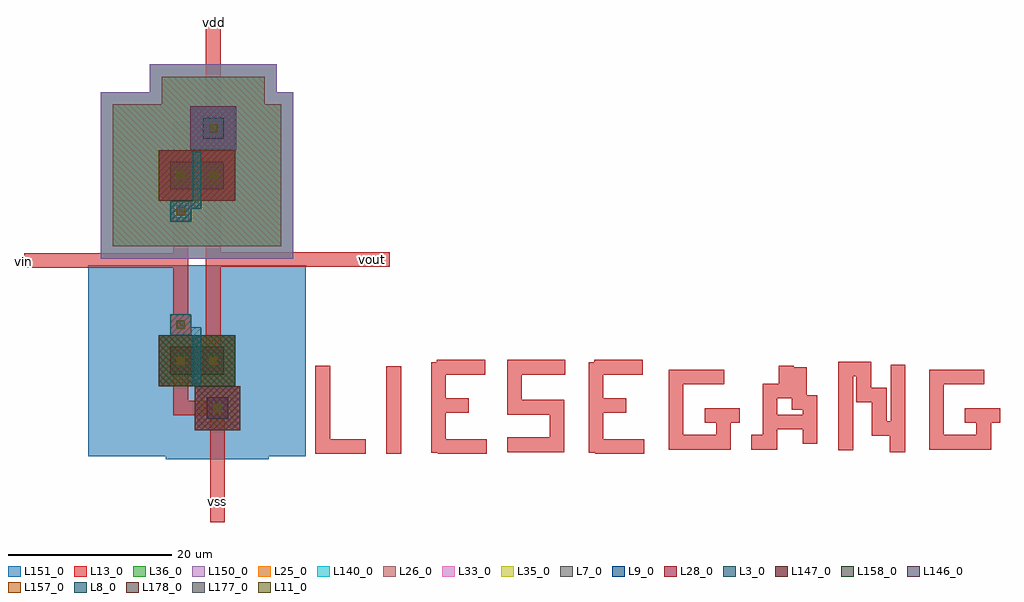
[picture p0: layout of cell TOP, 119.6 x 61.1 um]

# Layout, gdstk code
import gdstk
lib = gdstk.Library(unit=1e-6, precision=1e-07)
def R(c, l, rs):  # rectangles x0, y0, x1, y1
    for r in rs: c.add(gdstk.rectangle(r[:2], r[2:], *l))
L3_0 = (3, 0)
L7_0 = (7, 0)
L8_0 = (8, 0)
L9_0 = (9, 0)
L11_0 = (11, 0)
L13_0 = (13, 0)
L25_0 = (25, 0)
L26_0 = (26, 0)
L28_0 = (28, 0)
L33_0 = (33, 0)
L35_0 = (35, 0)
L36_0 = (36, 0)
L140_0 = (140, 0)
L146_0 = (146, 0)
L147_0 = (147, 0)
L150_0 = (150, 0)
L151_0 = (151, 0)
L157_0 = (157, 0)
L158_0 = (158, 0)
L177_0 = (177, 0)
L178_0 = (178, 0)

dcont = lib.new_cell('dcont')
R(dcont, L3_0, [(-1.3,-1.3,1.3,1.3)])
R(dcont, L11_0, [(-0.5,-0.5,0.5,0.5)])
R(dcont, L13_0, [(-1.3,-1.3,1.3,1.3), (-0.5,-0.5,0.5,0.5)])

pcont = lib.new_cell('pcont')
R(pcont, L8_0, [(-1.3,-1.3,1.3,1.3)])
R(pcont, L11_0, [(-0.5,-0.5,0.5,0.5)])
R(pcont, L13_0, [(-1.3,-1.3,1.3,1.3), (-0.5,-0.5,0.5,0.5)])

c_dcont = lib.new_cell('DCONT')
R(c_dcont, L3_0, [(-1.3,-1.3,1.3,1.3)])
R(c_dcont, L11_0, [(-0.5,-0.5,0.5,0.5)])
R(c_dcont, L13_0, [(-1.3,-1.3,1.3,1.3), (-0.5,-0.5,0.5,0.5)])

psubcont = lib.new_cell('psubcont')
R(psubcont, L7_0, [(-2.8,-2.7,2.8,2.7)])
R(psubcont, L28_0, [(-2.8,-2.7,2.8,2.7)])
R(psubcont, L33_0, [(-2.8,-2.7,2.8,2.7)])
R(psubcont, L35_0, [(-2.8,-2.7,2.8,2.7)])
R(psubcont, L151_0, [(-6.3,-6.3,6.3,6.3)])
R(psubcont, L178_0, [(-2.8,-2.7,2.8,2.7)])
psubcont.add(gdstk.Reference(c_dcont, (0,0)))

mn_1 = lib.new_cell('MN$1')
R(mn_1, L3_0, [(0,3.6,6.6,7)])
R(mn_1, L9_0, [(-1.4,2.2,8,8.4)])
R(mn_1, L33_0, [(-1.4,2.2,8,8.4)])
R(mn_1, L35_0, [(-1.4,2.2,8,8.4)])
R(mn_1, L147_0, [(-1.4,2.2,8,8.4)])
R(mn_1, L151_0, [(-10,-6.4,16.6,17)])
R(mn_1, L158_0, [(-1.4,2.2,8,8.4)])
mn_1.add(gdstk.FlexPath([(1.3,3.6),(1.3,7)], 2.6, ends="flush", simple_path=True, layer=13, datatype=0))  # L13_0
mn_1.add(gdstk.FlexPath([(5.3,3.6),(5.3,7)], 2.6, ends="flush", simple_path=True, layer=13, datatype=0))  # L13_0
mn_1.add(gdstk.FlexPath([(1.3,1.3),(1.3,4.6)], 1.8, ends="flush", simple_path=True, layer=13, datatype=0))  # L13_0
mn_1.add(gdstk.FlexPath([(5.3,6),(5.3,9.3)], 1.8, ends="flush", simple_path=True, layer=13, datatype=0))  # L13_0
mn_1.add(gdstk.FlexPath([(3.3,3.6),(3.3,7)], 1, ends=(1.2, 1.2), simple_path=True, layer=8, datatype=0))  # L8_0
mn_1.add(gdstk.FlexPath([(1.3,8.9),(3.3,8.9),(3.3,8.2)], 1, ends="flush", simple_path=True, layer=8, datatype=0))  # L8_0
mn_1.add(gdstk.Reference(dcont, (1.3,5.3)))
mn_1.add(gdstk.Reference(dcont, (5.3,5.3)))
mn_1.add(gdstk.Reference(pcont, (1.3,9.7)))
mn_1.add(gdstk.Reference(psubcont, (5.8,-0.5)))

nsubcont = lib.new_cell('nsubcont')
R(nsubcont, L7_0, [(-2.8,-2.7,2.8,2.7)])
R(nsubcont, L9_0, [(-2.8,-2.7,2.8,2.7)])
R(nsubcont, L25_0, [(-6.3,-6.3,6.3,6.3)])
R(nsubcont, L26_0, [(-6.3,-6.3,6.3,6.3)])
R(nsubcont, L33_0, [(-2.8,-2.7,2.8,2.7)])
R(nsubcont, L35_0, [(-2.8,-2.7,2.8,2.7)])
R(nsubcont, L36_0, [(-7.8,-7.8,7.8,7.8)])
R(nsubcont, L140_0, [(-6.3,-6.3,6.3,6.3)])
R(nsubcont, L150_0, [(-7.8,-7.8,7.8,7.8)])
R(nsubcont, L177_0, [(-2.8,-2.7,2.8,2.7)])
nsubcont.add(gdstk.Reference(c_dcont, (0,0)))

mp_1 = lib.new_cell('MP$1')
R(mp_1, L3_0, [(0,3.6,6.6,7)])
R(mp_1, L7_0, [(-1.4,2.2,8,8.4)])
R(mp_1, L25_0, [(-7,-3.4,13.6,14)])
R(mp_1, L26_0, [(-7,-3.4,13.6,14)])
R(mp_1, L28_0, [(-1.4,2.2,8,8.4)])
R(mp_1, L33_0, [(-1.4,2.2,8,8.4)])
R(mp_1, L36_0, [(-8.5,-4.9,15.1,15.5)])
R(mp_1, L140_0, [(-7,-3.4,13.6,14)])
R(mp_1, L146_0, [(-1.4,2.2,8,8.4)])
R(mp_1, L150_0, [(-8.5,-4.9,15.1,15.5)])
R(mp_1, L157_0, [(-1.4,2.2,8,8.4)])
mp_1.add(gdstk.FlexPath([(1.3,3.6),(1.3,7)], 2.6, ends="flush", simple_path=True, layer=13, datatype=0))  # L13_0
mp_1.add(gdstk.FlexPath([(5.3,3.6),(5.3,7)], 2.6, ends="flush", simple_path=True, layer=13, datatype=0))  # L13_0
mp_1.add(gdstk.FlexPath([(1.3,6),(1.3,9.3)], 1.8, ends="flush", simple_path=True, layer=13, datatype=0))  # L13_0
mp_1.add(gdstk.FlexPath([(5.3,1.3),(5.3,4.6)], 1.8, ends="flush", simple_path=True, layer=13, datatype=0))  # L13_0
mp_1.add(gdstk.FlexPath([(3.3,3.6),(3.3,7)], 1, ends=(1.2, 1.2), simple_path=True, layer=8, datatype=0))  # L8_0
mp_1.add(gdstk.FlexPath([(1.3,1.7),(3.3,1.7),(3.3,2.4)], 1, ends="flush", simple_path=True, layer=8, datatype=0))  # L8_0
mp_1.add(gdstk.Reference(dcont, (1.3,5.3)))
mp_1.add(gdstk.Reference(dcont, (5.3,5.3)))
mp_1.add(gdstk.Reference(pcont, (1.3,0.9)))
mp_1.add(gdstk.Reference(nsubcont, (5.3,11.1)))

top = lib.new_cell('TOP')
top.add(gdstk.FlexPath([(65.5,-5.4),(59.6,-5.4),(59.6,-13.4),(65.4,-13.4),(65.4,-10.4)], 1.8, ends="flush", simple_path=True, layer=13, datatype=0))  # L13_0
top.add(gdstk.FlexPath([(63.1,-10.1),(67.4,-10.1)], 1.8, ends="flush", simple_path=True, layer=13, datatype=0))  # L13_0
top.add(gdstk.FlexPath([(73.1,-4),(73.1,-7.1),(71.1,-7.1),(71.1,-13.4),(68.8,-13.4)], 1.8, ends="flush", simple_path=True, layer=13, datatype=0))  # L13_0
top.add(gdstk.FlexPath([(76,-13.6),(76,-8.5),(74.7,-8.5),(74.7,-5.1),(72.9,-5.1)], 1.8, ends="flush", simple_path=True, layer=13, datatype=0))  # L13_0
top.add(gdstk.FlexPath([(71.5,-10.9),(75.7,-10.9)], 1.8, ends="flush", simple_path=True, layer=13, datatype=0))  # L13_0
top.add(gdstk.FlexPath([(97.4,-5.4),(91.5,-5.4),(91.5,-13.4),(97.3,-13.4),(97.3,-10.4)], 1.8, ends="flush", simple_path=True, layer=13, datatype=0))  # L13_0
top.add(gdstk.FlexPath([(95,-10.1),(99.3,-10.1)], 1.8, ends="flush", simple_path=True, layer=13, datatype=0))  # L13_0
top.add(gdstk.FlexPath([(80.4,-14.4),(80.4,-4.4),(82.6,-4.4),(82.6,-7.6),(84.5,-7.6),(84.5,-11.7),(86.7,-11.7),(86.7,-13.7),(86.8,-13.7),(86.8,-3.9)], 1.8, ends="flush", simple_path=True, layer=13, datatype=0))  # L13_0
top.add(gdstk.FlexPath([(16.3,-4),(16.3,-13.9),(21.6,-13.9)], 1.8, ends="flush", simple_path=True, layer=13, datatype=0))  # L13_0
top.add(gdstk.FlexPath([(25,-4.1),(25,-14.8)], 1.8, ends="flush", simple_path=True, layer=13, datatype=0))  # L13_0
top.add(gdstk.FlexPath([(30.4,-8.9),(34.2,-8.9)], 1.8, ends="flush", simple_path=True, layer=13, datatype=0))  # L13_0
top.add(gdstk.FlexPath([(30.4,-13.9),(36.4,-13.9)], 1.8, ends="flush", simple_path=True, layer=13, datatype=0))  # L13_0
top.add(gdstk.FlexPath([(30.5,-3.6),(30.5,-14.7)], 1.8, ends="flush", simple_path=True, layer=13, datatype=0))  # L13_0
top.add(gdstk.FlexPath([(30.3,-4.2),(36.2,-4.2)], 1.8, ends="flush", simple_path=True, layer=13, datatype=0))  # L13_0
top.add(gdstk.FlexPath([(46,-4.2),(39.8,-4.2),(39.8,-9.1),(45,-9.1),(45,-13.7),(38.9,-13.7),(38.9,-13.7)], 1.8, ends="flush", simple_path=True, layer=13, datatype=0))  # L13_0
top.add(gdstk.FlexPath([(49.7,-8.9),(53.5,-8.9)], 1.8, ends="flush", simple_path=True, layer=13, datatype=0))  # L13_0
top.add(gdstk.FlexPath([(49.7,-13.9),(55.7,-13.9)], 1.8, ends="flush", simple_path=True, layer=13, datatype=0))  # L13_0
top.add(gdstk.FlexPath([(49.8,-3.6),(49.8,-14.7)], 1.8, ends="flush", simple_path=True, layer=13, datatype=0))  # L13_0
top.add(gdstk.FlexPath([(49.6,-4.2),(55.5,-4.2)], 1.8, ends="flush", simple_path=True, layer=13, datatype=0))  # L13_0
top.add(gdstk.FlexPath([(-1.1,14.7),(-1.1,1.5),(-1.1,1.5)], 1.8, ends="flush", simple_path=True, layer=13, datatype=0))  # L13_0
top.add(gdstk.FlexPath([(-1.1,8.9),(-20.3,8.9)], 1.8, ends="flush", simple_path=True, layer=13, datatype=0))  # L13_0
top.add(gdstk.FlexPath([(-1.1,22.1),(-1.1,25),(2.9,25)], 1.8, ends="flush", simple_path=True, layer=13, datatype=0))  # L13_0
top.add(gdstk.FlexPath([(2.9,25),(2.9,37.9)], 1.8, ends="flush", simple_path=True, layer=13, datatype=0))  # L13_0
top.add(gdstk.FlexPath([(3.4,-9.2),(3.4,-23.2)], 1.8, ends="flush", simple_path=True, layer=13, datatype=0))  # L13_0
top.add(gdstk.FlexPath([(-1.1,-6.7),(-1.1,-9.2),(3.4,-9.2)], 1.8, ends="flush", simple_path=True, layer=13, datatype=0))  # L13_0
top.add(gdstk.FlexPath([(2.9,16.3),(2.9,-0.2)], 1.8, ends="flush", simple_path=True, layer=13, datatype=0))  # L13_0
top.add(gdstk.FlexPath([(2.9,9),(24.5,9)], 1.8, ends="flush", simple_path=True, layer=13, datatype=0))  # L13_0
top.add(gdstk.Reference(mn_1, (-2.4,-8.7)))
top.add(gdstk.Reference(mp_1, (-2.4,14)))
top.add(gdstk.Label('vin', (-20.4,8.7), layer=13, texttype=0))
top.add(gdstk.Label('vout', (22.4,9), layer=13, texttype=0))
top.add(gdstk.Label('vdd', (3.1,38.1), layer=13, texttype=0))
top.add(gdstk.Label('vss', (3.4,-20.7), layer=13, texttype=0))

lib.write_gds('TOP.gds')
